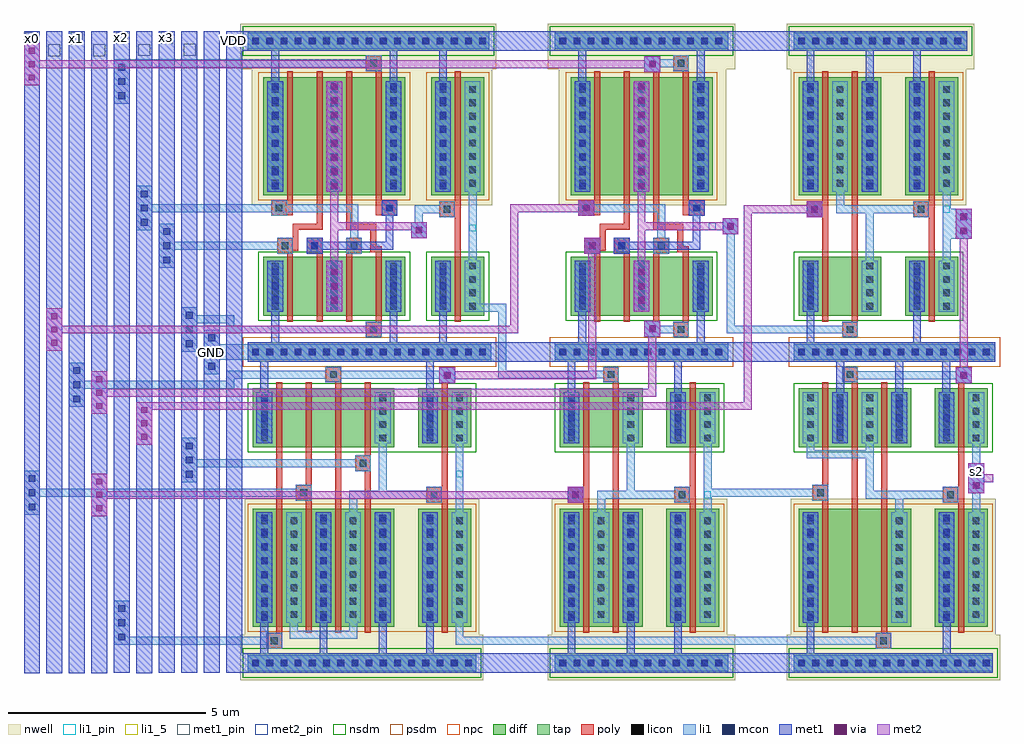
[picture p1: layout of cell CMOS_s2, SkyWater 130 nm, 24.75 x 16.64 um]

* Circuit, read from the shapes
.subckt CMOS_s2 GND VDD s2 x0 x0_bar x1 x1_bar x2 x2_bar x3 x3_bar
XM1 n1 x2 GND GND sky130_fd_pr__nfet_01v8 w=1.5 l=0.15
XM2 n2 x3 GND GND sky130_fd_pr__nfet_01v8 w=1.5 l=0.15
XM3 n3 x0 n1 GND sky130_fd_pr__nfet_01v8 w=1.5 l=0.15
XM4 n4 x2 n2 GND sky130_fd_pr__nfet_01v8 w=1.5 l=0.15
XM5 n5 x1 n3 GND sky130_fd_pr__nfet_01v8 w=1.5 l=0.15
XM6 n6 x2_bar n4 GND sky130_fd_pr__nfet_01v8 w=1.5 l=0.15
XM7 n7 x3_bar n5 GND sky130_fd_pr__nfet_01v8 w=1.5 l=0.15
XM8 GND x3_bar n6 GND sky130_fd_pr__nfet_01v8 w=1.5 l=0.15
XM9 CMOS_3in_OR_4/C n7 GND GND sky130_fd_pr__nfet_01v8 w=1.5 l=0.15
XM10 CMOS_AND_2/A n4 GND GND sky130_fd_pr__nfet_01v8 w=1.5 l=0.15
XM11 n8 x1_bar GND GND sky130_fd_pr__nfet_01v8 w=1.5 l=0.15
XM12 n9 x1 GND GND sky130_fd_pr__nfet_01v8 w=1.5 l=0.15
XM13 n10 CMOS_AND_2/A n8 GND sky130_fd_pr__nfet_01v8 w=1.5 l=0.15
XM14 CMOS_AND_3/A x0 n9 GND sky130_fd_pr__nfet_01v8 w=1.5 l=0.15
XM15 n11 x0_bar CMOS_AND_3/A GND sky130_fd_pr__nfet_01v8 w=1.5 l=0.15
XM16 GND x1_bar n11 GND sky130_fd_pr__nfet_01v8 w=1.5 l=0.15
XM17 CMOS_3in_OR_4/A n10 GND GND sky130_fd_pr__nfet_01v8 w=1.5 l=0.15
XM18 GND CMOS_3in_OR_4/A n12 GND sky130_fd_pr__nfet_01v8 w=1.5 l=0.15
XM19 n13 x2_bar GND GND sky130_fd_pr__nfet_01v8 w=1.5 l=0.15
XM20 n12 CMOS_AND_3/AND GND GND sky130_fd_pr__nfet_01v8 w=1.5 l=0.15
XM21 n14 CMOS_AND_3/A n13 GND sky130_fd_pr__nfet_01v8 w=1.5 l=0.15
XM22 GND CMOS_3in_OR_4/C n12 GND sky130_fd_pr__nfet_01v8 w=1.5 l=0.15
XM23 CMOS_AND_3/AND n14 GND GND sky130_fd_pr__nfet_01v8 w=1.5 l=0.15
XM24 s2 n12 GND GND sky130_fd_pr__nfet_01v8 w=1.5 l=0.15
XM25 n7 x2 VDD VDD sky130_fd_pr__pfet_01v8 w=3 l=0.15
XM26 n15 x2_bar VDD VDD sky130_fd_pr__pfet_01v8 w=3 l=0.15
XM27 VDD x0 n7 VDD sky130_fd_pr__pfet_01v8 w=3 l=0.15
XM28 n4 x3 n15 VDD sky130_fd_pr__pfet_01v8 w=3 l=0.15
XM29 n7 x1 VDD VDD sky130_fd_pr__pfet_01v8 w=3 l=0.15
XM30 n16 x3_bar n4 VDD sky130_fd_pr__pfet_01v8 w=3 l=0.15
XM31 VDD x3_bar n7 VDD sky130_fd_pr__pfet_01v8 w=3 l=0.15
XM32 VDD x2 n16 VDD sky130_fd_pr__pfet_01v8 w=3 l=0.15
XM33 CMOS_3in_OR_4/C n7 VDD VDD sky130_fd_pr__pfet_01v8 w=3 l=0.15
XM34 CMOS_AND_2/A n4 VDD VDD sky130_fd_pr__pfet_01v8 w=3 l=0.15
XM35 n10 x1_bar VDD VDD sky130_fd_pr__pfet_01v8 w=3 l=0.15
XM36 n17 x0_bar VDD VDD sky130_fd_pr__pfet_01v8 w=3 l=0.15
XM37 VDD CMOS_AND_2/A n10 VDD sky130_fd_pr__pfet_01v8 w=3 l=0.15
XM38 CMOS_AND_3/A x1 n17 VDD sky130_fd_pr__pfet_01v8 w=3 l=0.15
XM39 n18 x1_bar CMOS_AND_3/A VDD sky130_fd_pr__pfet_01v8 w=3 l=0.15
XM40 VDD x0 n18 VDD sky130_fd_pr__pfet_01v8 w=3 l=0.15
XM41 CMOS_3in_OR_4/A n10 VDD VDD sky130_fd_pr__pfet_01v8 w=3 l=0.15
XM42 n19 CMOS_3in_OR_4/A VDD VDD sky130_fd_pr__pfet_01v8 w=3 l=0.15
XM43 n14 x2_bar VDD VDD sky130_fd_pr__pfet_01v8 w=3 l=0.15
XM44 n20 CMOS_AND_3/AND n19 VDD sky130_fd_pr__pfet_01v8 w=3 l=0.15
XM45 VDD CMOS_AND_3/A n14 VDD sky130_fd_pr__pfet_01v8 w=3 l=0.15
XM46 n12 CMOS_3in_OR_4/C n20 VDD sky130_fd_pr__pfet_01v8 w=3 l=0.15
XM47 CMOS_AND_3/AND n14 VDD VDD sky130_fd_pr__pfet_01v8 w=3 l=0.15
XM48 s2 n12 VDD VDD sky130_fd_pr__pfet_01v8 w=3 l=0.15
.ends

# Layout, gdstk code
import gdstk
lib = gdstk.Library(unit=1e-6, precision=1e-09)
def R(c, l, rs):  # rectangles x0, y0, x1, y1
    for r in rs: c.add(gdstk.rectangle(r[:2], r[2:], *l))
def A(c, l, x, y, w, h, nx, ny, dx, dy):  # array of equal rectangles
    R(c, l, [(x+i*dx, y+j*dy, x+i*dx+w, y+j*dy+h) for i in range(nx) for j in range(ny)])
nwell = (64, 20)
diff = (65, 20)
tap = (65, 44)
poly = (66, 20)
licon = (66, 44)
li1_5 = (67, 5)
li1_pin = (67, 16)
li1 = (67, 20)
mcon = (67, 44)
met1_pin = (68, 16)
met1 = (68, 20)
via = (68, 44)
met2_pin = (69, 16)
met2 = (69, 20)
nsdm = (93, 44)
psdm = (94, 20)
npc = (95, 20)

cmos_xor = lib.new_cell('CMOS_XOR')
R(cmos_xor, nwell, [(-2.1,-0.25,2.15,3.2), (-2.38,3.2,2.38,4.35)])
R(cmos_xor, diff, [(-1.8,-3.05,1.8,-1.55), (-1.8,0,1.8,3)])
R(cmos_xor, tap, [(-2.2,-4.22,2.2,-3.72), (-2.2,3.67,2.2,4.17)])
A(cmos_xor, poly, -1.2, -3.2, 0.15, 1.725, 3, 1, 0.75, 0)
R(cmos_xor, poly, [(0.8,-3.6,1.2,-3.2), (1.05,-3.2,1.2,-1.44), (-1.45,-1.475,-1.05,-1.4), (-0.7,-1.475,-0.3,-1.075), (0.3,-1.475,0.7,-1.075), (0.91,-1.44,1.2,-1.29), (-1.45,-1.4,-0.91,-1.075), (0.91,-1.29,1.06,-0.865), (-1.06,-1.075,-0.91,-0.865), (-1.06,-0.865,-0.3,-0.715), (0.3,-0.865,1.06,-0.715), (-0.45,-0.715,-0.3,3.15), (0.3,-0.715,0.45,3.15), (-1.6,-0.52,-1.2,-0.505), (1.2,-0.52,1.6,-0.505), (-1.6,-0.505,-1.05,-0.12), (1.05,-0.505,1.6,-0.12), (-1.2,-0.12,-1.05,3.15), (1.05,-0.12,1.2,3.15), (0.8,3.15,1.2,3.55)])
A(cmos_xor, licon, -2.085, -4.055, 0.17, 0.17, 12, 2, 0.36, 7.89)
A(cmos_xor, licon, -1.585, -2.895, 0.17, 0.17, 3, 4, 1.5, 0.34)
A(cmos_xor, licon, -1.585, 0.225, 0.17, 0.17, 3, 8, 1.5, 0.34)
R(cmos_xor, licon, [(0.915,-3.485,1.085,-3.315), (-1.335,-1.36,-1.165,-1.19), (-0.585,-1.36,-0.415,-1.19), (0.415,-1.36,0.585,-1.19), (-1.485,-0.405,-1.315,-0.235), (1.315,-0.405,1.485,-0.235), (0.915,3.265,1.085,3.435)])
R(cmos_xor, li1_pin, [(0.915,-3.485,1.085,-3.315), (-1.335,-1.36,-1.165,-1.19), (-1.515,-0.445,-1.27,-0.21), (0.915,3.265,1.085,3.435)])
A(cmos_xor, li1, -1.7, -2.95, 0.4, 1.3, 3, 1, 1.5, 0)
A(cmos_xor, li1, -1.7, 0.1, 0.4, 2.8, 3, 1, 1.5, 0)
R(cmos_xor, li1, [(-2.2,-4.17,2.2,-3.77), (0.8,-3.6,1.2,-3.2), (-1.45,-1.475,-1.05,-1.075), (-0.7,-1.475,-0.3,-1.075), (0.3,-1.475,0.7,-1.075), (0.4,-1.075,0.6,-0.42), (-1.6,-0.52,-1.2,-0.42), (1.2,-0.52,1.6,-0.12), (-1.6,-0.42,0.6,-0.22), (-1.6,-0.22,-1.2,-0.12), (0.8,3.15,1.2,3.55), (-2.2,3.72,2.2,4.12)])
A(cmos_xor, mcon, -2.085, -4.055, 0.17, 0.17, 12, 2, 0.36, 7.89)
A(cmos_xor, mcon, -1.585, -2.745, 0.17, 0.17, 3, 3, 1.5, 0.36)
A(cmos_xor, mcon, -1.585, 0.155, 0.17, 0.17, 3, 8, 1.5, 0.36)
R(cmos_xor, mcon, [(-0.585,-1.36,-0.415,-1.19), (1.315,-0.405,1.485,-0.235)])
R(cmos_xor, met1_pin, [(-0.3,-4.07,-0.1,-3.87), (-0.3,3.82,-0.1,4.02)])
A(cmos_xor, met1, -1.7, -2.95, 0.4, 1.3, 3, 1, 1.5, 0)
A(cmos_xor, met1, -1.7, 0.1, 0.4, 2.8, 3, 1, 1.5, 0)
R(cmos_xor, met1, [(-2.2,-4.22,2.2,-3.72), (-1.6,-3.72,-1.4,-2.95), (1.4,-3.72,1.6,-2.95), (-0.7,-1.475,-0.3,-1.375), (-0.7,-1.375,1.495,-1.175), (-0.7,-1.175,-0.3,-1.075), (1.3,-1.175,1.495,-0.52), (1.2,-0.52,1.6,-0.12), (-1.6,2.9,-1.4,3.67), (1.4,2.9,1.6,3.67), (-2.2,3.67,2.2,4.17)])
A(cmos_xor, via, -0.075, -2.735, 0.15, 0.15, 1, 3, 0, 0.36)
A(cmos_xor, via, -0.075, 0.165, 0.15, 0.15, 1, 8, 0, 0.36)
R(cmos_xor, met2_pin, [(1.7,-0.87,1.88,-0.69)])
R(cmos_xor, met2, [(-0.2,-2.95,0.2,-1.65), (-0.1,-1.65,0.1,-0.88), (-0.1,-0.88,2.15,-0.68), (-0.1,-0.68,0.1,0.1), (-0.2,0.1,0.2,2.9)])
R(cmos_xor, nsdm, [(-1.925,-3.175,1.925,-1.425), (-2.325,3.545,2.325,4.295)])
R(cmos_xor, psdm, [(-2.325,-4.345,2.325,-3.595), (-1.925,-0.125,1.925,3.125)])
R(cmos_xor, npc, [(0.815,-3.585,1.185,-3.215), (-1.435,-1.46,-1.065,-1.09), (-0.685,-1.46,-0.315,-1.09), (0.315,-1.46,0.685,-1.09), (-1.585,-0.505,-1.215,-0.135), (1.215,-0.505,1.585,-0.135), (0.815,3.165,1.185,3.535)])
cmos_xor.add(gdstk.Label('GND!', (-0.2,-3.97), layer=68, texttype=16))
cmos_xor.add(gdstk.Label('VDD', (-0.2,3.92), layer=68, texttype=16))
cmos_xor.add(gdstk.Label('B', (1,3.35), layer=67, texttype=16))
cmos_xor.add(gdstk.Label('A_bar', (1,-3.4), layer=67, texttype=16))
cmos_xor.add(gdstk.Label('A', (-1.25,-1.275), layer=67, texttype=16))
cmos_xor.add(gdstk.Label('B_bar', (-1.392,-0.327), layer=67, texttype=16))
cmos_xor.add(gdstk.Label('XOR', (1.79,-0.78), layer=69, texttype=16))

cmos_xnor = lib.new_cell('CMOS_XNOR')
R(cmos_xnor, nwell, [(-2.965,-0.25,3.14,3.2), (-3.245,3.2,3.245,4.35)])
R(cmos_xnor, diff, [(-2.665,-3.05,0.935,-1.55), (1.59,-3.05,2.94,-1.55), (-2.665,0,0.935,3), (1.59,0,2.94,3)])
R(cmos_xnor, tap, [(-3.065,-4.22,3.12,-3.72), (-3.065,3.67,3.065,4.17)])
A(cmos_xnor, poly, -2.065, -3.2, 0.15, 1.725, 3, 1, 0.75, 0)
R(cmos_xnor, poly, [(-0.065,-3.6,0.335,-3.2), (0.185,-3.2,0.335,-1.44), (2.19,-3.2,2.34,-0.55), (-2.315,-1.475,-1.915,-1.4), (-1.565,-1.475,-1.165,-1.075), (-0.565,-1.475,-0.165,-1.075), (0.045,-1.44,0.335,-1.29), (-2.315,-1.4,-1.775,-1.075), (0.045,-1.29,0.195,-0.865), (-1.925,-1.075,-1.775,-0.865), (-1.925,-0.865,-1.165,-0.715), (-0.565,-0.865,0.195,-0.715), (-1.315,-0.715,-1.165,3.15), (-0.565,-0.715,-0.415,3.15), (1.79,-0.55,2.34,-0.15), (-2.465,-0.52,-2.065,-0.505), (0.335,-0.52,0.735,-0.505), (-2.465,-0.505,-1.915,-0.12), (0.185,-0.505,0.735,-0.12), (2.19,-0.15,2.34,3.15), (-2.065,-0.12,-1.915,3.15), (0.185,-0.12,0.335,3.15), (-0.065,3.15,0.335,3.55)])
A(cmos_xnor, licon, -2.95, -4.055, 0.17, 0.17, 17, 2, 0.36, 7.89)
A(cmos_xnor, licon, -2.45, -2.895, 0.17, 0.17, 3, 4, 1.5, 0.34)
A(cmos_xnor, licon, 1.805, -2.895, 0.17, 0.17, 1, 4, 0, 0.34)
A(cmos_xnor, licon, 2.555, -2.895, 0.17, 0.17, 1, 4, 0, 0.34)
A(cmos_xnor, licon, -2.45, 0.225, 0.17, 0.17, 3, 8, 1.5, 0.34)
A(cmos_xnor, licon, 1.805, 0.225, 0.17, 0.17, 1, 8, 0, 0.34)
A(cmos_xnor, licon, 2.555, 0.225, 0.17, 0.17, 1, 8, 0, 0.34)
R(cmos_xnor, licon, [(0.05,-3.485,0.22,-3.315), (-2.2,-1.36,-2.03,-1.19), (-1.45,-1.36,-1.28,-1.19), (-0.45,-1.36,-0.28,-1.19), (1.905,-0.435,2.075,-0.265), (-2.35,-0.405,-2.18,-0.235), (0.45,-0.405,0.62,-0.235), (0.05,3.265,0.22,3.435)])
R(cmos_xnor, li1_5, [(1.905,-0.435,2.075,-0.265)])
R(cmos_xnor, li1_pin, [(0.05,-3.485,0.22,-3.315), (-2.2,-1.36,-2.03,-1.19), (2.555,-0.91,2.725,-0.74), (-2.38,-0.445,-2.135,-0.21), (0.05,3.265,0.22,3.435)])
A(cmos_xnor, li1, -2.565, -2.95, 0.4, 1.3, 3, 1, 1.5, 0)
A(cmos_xnor, li1, -2.565, 0.1, 0.4, 2.8, 3, 1, 1.5, 0)
R(cmos_xnor, li1, [(-3.065,-4.17,3.12,-3.77), (-0.065,-3.6,0.335,-3.2), (1.69,-2.95,2.09,-1.65), (2.44,-2.95,2.84,-1.65), (2.54,-1.65,2.74,0.1), (-2.315,-1.475,-1.915,-1.075), (-1.565,-1.475,-1.165,-1.075), (-0.565,-1.475,-0.165,-1.075), (1.08,-1.08,1.48,-0.68), (-0.465,-1.075,-0.265,-0.42), (1.18,-0.68,1.38,-0.45), (1.79,-0.55,2.19,-0.45), (-2.465,-0.52,-2.065,-0.42), (0.335,-0.52,0.735,-0.12), (1.18,-0.45,2.19,-0.25), (-2.465,-0.42,-0.265,-0.22), (1.79,-0.25,2.19,-0.15), (-2.465,-0.22,-2.065,-0.12), (1.69,0.1,2.09,2.9), (2.44,0.1,2.84,2.9), (-0.065,3.15,0.335,3.55), (-3.065,3.72,3.065,4.12)])
A(cmos_xnor, mcon, -2.95, -4.055, 0.17, 0.17, 17, 2, 0.36, 7.89)
A(cmos_xnor, mcon, -2.45, -2.745, 0.17, 0.17, 3, 3, 1.5, 0.36)
A(cmos_xnor, mcon, 1.805, -2.745, 0.17, 0.17, 1, 3, 0, 0.36)
A(cmos_xnor, mcon, -2.45, 0.155, 0.17, 0.17, 3, 8, 1.5, 0.36)
A(cmos_xnor, mcon, 1.805, 0.155, 0.17, 0.17, 1, 8, 0, 0.36)
R(cmos_xnor, mcon, [(-1.45,-1.36,-1.28,-1.19), (1.195,-0.965,1.365,-0.795), (0.45,-0.405,0.62,-0.235)])
R(cmos_xnor, met1_pin, [(-1.165,-4.07,-0.965,-3.87), (-1.165,3.82,-0.965,4.02)])
A(cmos_xnor, met1, -2.565, -2.95, 0.4, 1.3, 3, 1, 1.5, 0)
A(cmos_xnor, met1, -2.565, 0.1, 0.4, 2.8, 3, 1, 1.5, 0)
R(cmos_xnor, met1, [(-3.065,-4.22,3.12,-3.72), (-2.465,-3.72,-2.265,-2.95), (0.535,-3.72,0.735,-2.95), (1.79,-3.72,1.99,-2.95), (1.69,-2.95,2.09,-1.65), (-1.565,-1.475,-1.165,-1.375), (-1.565,-1.375,0.63,-1.175), (-1.565,-1.175,-1.165,-1.075), (0.435,-1.175,0.63,-0.52), (1.08,-1.08,1.48,-0.68), (0.335,-0.52,0.735,-0.12), (1.69,0.1,2.09,2.9), (-2.465,2.9,-2.265,3.67), (0.535,2.9,0.735,3.67), (1.79,2.9,1.99,3.67), (-3.065,3.67,3.065,4.17)])
A(cmos_xnor, via, -0.94, -2.735, 0.15, 0.15, 1, 3, 0, 0.36)
A(cmos_xnor, via, -0.94, 0.165, 0.15, 0.15, 1, 8, 0, 0.36)
R(cmos_xnor, via, [(1.205,-0.955,1.355,-0.805)])
R(cmos_xnor, met2, [(-1.065,-2.95,-0.665,-1.65), (-0.965,-1.65,-0.765,-0.88), (1.08,-1.08,1.48,-0.88), (-0.965,-0.88,1.48,-0.68), (-0.965,-0.68,-0.765,0.1), (-1.065,0.1,-0.665,2.9)])
R(cmos_xnor, nsdm, [(-2.79,-3.175,1.06,-1.425), (1.465,-3.175,3.065,-1.425), (-3.19,3.545,3.19,4.295)])
R(cmos_xnor, psdm, [(-3.19,-4.345,3.245,-3.595), (-2.79,-0.125,1.06,3.125), (1.465,-0.125,3.065,3.125)])
R(cmos_xnor, npc, [(-0.05,-3.585,0.32,-3.215), (-2.3,-1.46,-1.93,-1.09), (-1.55,-1.46,-1.18,-1.09), (-0.55,-1.46,-0.18,-1.09), (1.805,-0.535,2.175,-0.165), (-2.45,-0.505,-2.08,-0.135), (0.35,-0.505,0.72,-0.135), (-0.05,3.165,0.32,3.535)])
cmos_xnor.add(gdstk.Label('GND!', (-1.065,-3.97), layer=68, texttype=16))
cmos_xnor.add(gdstk.Label('VDD', (-1.065,3.92), layer=68, texttype=16))
cmos_xnor.add(gdstk.Label('XNOR', (2.64,-0.825), layer=67, texttype=16))
cmos_xnor.add(gdstk.Label('B', (0.135,3.35), layer=67, texttype=16))
cmos_xnor.add(gdstk.Label('A_bar', (0.135,-3.4), layer=67, texttype=16))
cmos_xnor.add(gdstk.Label('A', (-2.115,-1.275), layer=67, texttype=16))
cmos_xnor.add(gdstk.Label('B_bar', (-2.257,-0.327), layer=67, texttype=16))

cmos_and = lib.new_cell('CMOS_AND')
R(cmos_and, nwell, [(-2.275,-0.25,2.175,3.2), (-2.38,3.2,2.38,4.35)])
R(cmos_and, diff, [(-2.075,-3.05,0.025,-1.55), (0.625,-3.05,1.975,-1.55), (-2.075,0,0.025,3), (0.625,0,1.975,3)])
R(cmos_and, tap, [(-2.2,-4.22,2.2,-3.72), (-2.2,3.67,2.2,4.17)])
R(cmos_and, poly, [(-0.975,-3.6,-0.575,-3.2), (-1.475,-3.2,-1.325,-0.55), (-0.725,-3.2,-0.575,3.15), (1.225,-3.2,1.375,-0.55), (-1.875,-0.55,-1.325,-0.15), (0.825,-0.55,1.375,-0.15), (-1.475,-0.15,-1.325,3.15), (1.225,-0.15,1.375,3.15)])
A(cmos_and, licon, -2.085, -4.055, 0.17, 0.17, 12, 2, 0.36, 7.89)
A(cmos_and, licon, -1.86, -2.895, 0.17, 0.17, 1, 4, 0, 0.34)
A(cmos_and, licon, -0.36, -2.895, 0.17, 0.17, 1, 4, 0, 0.34)
A(cmos_and, licon, 0.84, -2.895, 0.17, 0.17, 1, 4, 0, 0.34)
A(cmos_and, licon, 1.59, -2.895, 0.17, 0.17, 1, 4, 0, 0.34)
A(cmos_and, licon, -1.86, 0.225, 0.17, 0.17, 3, 8, 0.75, 0.34)
A(cmos_and, licon, 0.84, 0.225, 0.17, 0.17, 1, 8, 0, 0.34)
A(cmos_and, licon, 1.59, 0.225, 0.17, 0.17, 1, 8, 0, 0.34)
R(cmos_and, licon, [(-0.86,-3.485,-0.69,-3.315), (-1.76,-0.435,-1.59,-0.265), (0.94,-0.435,1.11,-0.265)])
R(cmos_and, li1_pin, [(-0.86,-3.485,-0.69,-3.315), (-1.76,-0.435,-1.59,-0.265), (1.59,-0.435,1.76,-0.265)])
A(cmos_and, li1, -1.975, 0.1, 0.4, 2.8, 3, 1, 0.75, 0)
R(cmos_and, li1, [(-2.2,-4.17,2.2,-3.77), (-0.975,-3.6,-0.575,-3.2), (-1.975,-2.95,-1.575,-1.65), (-0.475,-2.95,-0.075,-1.65), (0.725,-2.95,1.125,-1.65), (1.475,-2.95,1.875,-1.65), (-0.375,-1.65,-0.175,-0.45), (1.575,-1.65,1.775,0.1), (-1.875,-0.55,-1.475,-0.15), (0.825,-0.55,1.225,-0.45), (-1.125,-0.45,1.225,-0.25), (-1.125,-0.25,-0.925,0.1), (0.825,-0.25,1.225,-0.15), (0.725,0.1,1.125,2.9), (1.475,0.1,1.875,2.9), (-2.2,3.72,2.2,4.12)])
A(cmos_and, mcon, -2.085, -4.055, 0.17, 0.17, 12, 2, 0.36, 7.89)
A(cmos_and, mcon, -1.86, -2.745, 0.17, 0.17, 1, 3, 0, 0.36)
A(cmos_and, mcon, 0.84, -2.745, 0.17, 0.17, 1, 3, 0, 0.36)
A(cmos_and, mcon, -1.86, 0.155, 0.17, 0.17, 1, 8, 0, 0.36)
A(cmos_and, mcon, -0.36, 0.155, 0.17, 0.17, 1, 8, 0, 0.36)
A(cmos_and, mcon, 0.84, 0.155, 0.17, 0.17, 1, 8, 0, 0.36)
R(cmos_and, met1_pin, [(-0.3,-4.07,-0.1,-3.87), (-0.3,3.82,-0.1,4.02)])
R(cmos_and, met1, [(-2.2,-4.22,2.2,-3.72), (-1.875,-3.72,-1.675,-2.95), (0.825,-3.72,1.025,-2.95), (-1.975,-2.95,-1.575,-1.65), (0.725,-2.95,1.125,-1.65), (-1.975,0.1,-1.575,2.9), (-0.475,0.1,-0.075,2.9), (0.725,0.1,1.125,2.9), (-1.875,2.9,-1.675,3.67), (-0.37,2.9,-0.17,3.67), (0.825,2.9,1.025,3.67), (-2.2,3.67,2.2,4.17)])
R(cmos_and, nsdm, [(-2.2,-3.175,2.1,-1.425), (-2.325,3.545,2.325,4.295)])
R(cmos_and, psdm, [(-2.325,-4.345,2.325,-3.595), (-2.2,-0.125,2.1,3.125)])
R(cmos_and, npc, [(-0.96,-3.585,-0.59,-3.215), (-1.86,-0.535,-1.49,-0.165), (0.84,-0.535,1.21,-0.165)])
cmos_and.add(gdstk.Label('GND!', (-0.2,-3.97), layer=68, texttype=16))
cmos_and.add(gdstk.Label('VDD', (-0.2,3.92), layer=68, texttype=16))
cmos_and.add(gdstk.Label('AND', (1.675,-0.35), layer=67, texttype=16))
cmos_and.add(gdstk.Label('A', (-0.775,-3.4), layer=67, texttype=16))
cmos_and.add(gdstk.Label('B', (-1.675,-0.35), layer=67, texttype=16))

cmos_3in_or = lib.new_cell('CMOS_3in_OR')
R(cmos_3in_or, nwell, [(-2.6,-0.25,2.6,3.2), (-2.705,3.2,2.705,4.35)])
R(cmos_3in_or, diff, [(-2.4,-3.05,0.45,-1.55), (1.05,-3.05,2.4,-1.55), (-2.4,0,0.45,3), (1.05,0,2.4,3)])
R(cmos_3in_or, tap, [(-2.525,-4.22,2.58,-3.72), (-2.525,3.67,2.525,4.17)])
R(cmos_3in_or, poly, [(-1.3,-3.6,-0.9,-3.2), (-1.8,-3.2,-1.65,-0.6), (-1.05,-3.2,-0.9,3.15), (-0.3,-3.2,-0.15,3.15), (1.65,-3.2,1.8,-0.55), (-2.05,-0.6,-1.65,-0.2), (1.25,-0.55,1.8,-0.15), (-1.8,-0.2,-1.65,3.15), (1.65,-0.15,1.8,3.15), (-0.45,3.15,-0.05,3.55)])
A(cmos_3in_or, licon, -2.41, -4.055, 0.17, 0.17, 14, 2, 0.36, 7.89)
A(cmos_3in_or, licon, -2.185, -2.895, 0.17, 0.17, 4, 4, 0.75, 0.34)
A(cmos_3in_or, licon, 1.265, -2.895, 0.17, 0.17, 1, 4, 0, 0.34)
A(cmos_3in_or, licon, 2.015, -2.895, 0.17, 0.17, 1, 4, 0, 0.34)
A(cmos_3in_or, licon, -2.185, 0.225, 0.17, 0.17, 1, 8, 0, 0.34)
A(cmos_3in_or, licon, 0.065, 0.225, 0.17, 0.17, 1, 8, 0, 0.34)
A(cmos_3in_or, licon, 1.265, 0.225, 0.17, 0.17, 1, 8, 0, 0.34)
A(cmos_3in_or, licon, 2.015, 0.225, 0.17, 0.17, 1, 8, 0, 0.34)
R(cmos_3in_or, licon, [(-1.185,-3.485,-1.015,-3.315), (-1.935,-0.485,-1.765,-0.315), (1.365,-0.435,1.535,-0.265), (-0.335,3.265,-0.165,3.435)])
R(cmos_3in_or, li1_pin, [(-1.185,-3.485,-1.015,-3.315), (2.015,-1,2.185,-0.83), (-1.935,-0.485,-1.765,-0.315), (-0.335,3.265,-0.165,3.435)])
A(cmos_3in_or, li1, -2.3, -2.95, 0.4, 1.3, 4, 1, 0.75, 0)
R(cmos_3in_or, li1, [(-2.525,-4.17,2.58,-3.77), (-1.3,-3.6,-0.9,-3.2), (1.15,-2.95,1.55,-1.65), (1.9,-2.95,2.3,-1.65), (-2.2,-1.65,-2,-1.48), (-0.7,-1.65,-0.5,-1.48), (2,-1.65,2.2,0.1), (-2.2,-1.48,-0.5,-1.28), (-0.7,-1.28,-0.5,-0.45), (-2.05,-0.6,-1.65,-0.2), (1.25,-0.55,1.65,-0.45), (-0.7,-0.45,1.65,-0.25), (0.05,-0.25,0.25,0.1), (1.25,-0.25,1.65,-0.15), (-2.3,0.1,-1.9,2.9), (-0.05,0.1,0.35,2.9), (1.15,0.1,1.55,2.9), (1.9,0.1,2.3,2.9), (-0.45,3.15,-0.05,3.55), (-2.525,3.72,2.525,4.12)])
A(cmos_3in_or, mcon, -2.41, -4.055, 0.17, 0.17, 14, 2, 0.36, 7.89)
A(cmos_3in_or, mcon, -1.435, -2.745, 0.17, 0.17, 1, 3, 0, 0.36)
A(cmos_3in_or, mcon, 0.065, -2.745, 0.17, 0.17, 1, 3, 0, 0.36)
A(cmos_3in_or, mcon, 1.265, -2.745, 0.17, 0.17, 1, 3, 0, 0.36)
A(cmos_3in_or, mcon, -2.185, 0.155, 0.17, 0.17, 1, 8, 0, 0.36)
A(cmos_3in_or, mcon, 1.265, 0.155, 0.17, 0.17, 1, 8, 0, 0.36)
R(cmos_3in_or, met1_pin, [(-0.625,-4.07,-0.425,-3.87), (-0.625,3.82,-0.425,4.02)])
R(cmos_3in_or, met1, [(-2.525,-4.22,2.58,-3.72), (-1.45,-3.72,-1.25,-2.95), (0.05,-3.72,0.25,-2.95), (1.245,-3.72,1.445,-2.95), (-1.55,-2.95,-1.15,-1.65), (-0.05,-2.95,0.35,-1.65), (1.15,-2.95,1.55,-1.65), (-2.3,0.1,-1.9,2.9), (1.15,0.1,1.55,2.9), (-2.2,2.9,-2,3.67), (1.255,2.9,1.455,3.67), (-2.525,3.67,2.525,4.17)])
R(cmos_3in_or, nsdm, [(-2.525,-3.175,2.525,-1.425), (-2.65,3.545,2.65,4.295)])
R(cmos_3in_or, psdm, [(-2.65,-4.345,2.705,-3.595), (-2.525,-0.125,2.525,3.125)])
R(cmos_3in_or, npc, [(-1.285,-3.585,-0.915,-3.215), (-2.035,-0.585,-1.665,-0.215), (1.265,-0.535,1.635,-0.165), (-0.435,3.165,-0.065,3.535)])
cmos_3in_or.add(gdstk.Label('GND!', (-0.525,-3.97), layer=68, texttype=16))
cmos_3in_or.add(gdstk.Label('VDD', (-0.525,3.92), layer=68, texttype=16))
cmos_3in_or.add(gdstk.Label('A', (-1.85,-0.4), layer=67, texttype=16))
cmos_3in_or.add(gdstk.Label('B', (-1.1,-3.4), layer=67, texttype=16))
cmos_3in_or.add(gdstk.Label('C', (-0.25,3.35), layer=67, texttype=16))
cmos_3in_or.add(gdstk.Label('OR', (2.1,-0.915), layer=67, texttype=16))

cmos_4in_and = lib.new_cell('CMOS_4in_AND')
R(cmos_4in_and, nwell, [(-2.975,-0.25,2.975,3.2), (-3.08,3.2,3.08,4.35)])
R(cmos_4in_and, diff, [(-2.775,-3.05,0.825,-1.55), (1.425,-3.05,2.775,-1.55), (-2.775,0,0.825,3), (1.425,0,2.775,3)])
R(cmos_4in_and, tap, [(-2.9,-4.22,2.9,-3.72), (-2.9,3.67,2.9,4.17)])
R(cmos_4in_and, poly, [(-0.925,-3.6,-0.525,-3.2), (-2.175,-3.2,-2.025,3.15), (-1.425,-3.2,-1.275,-0.6), (-0.675,-3.2,-0.525,3.15), (0.075,-3.2,0.225,-1.35), (2.025,-3.2,2.175,-0.55), (-0.175,-1.35,0.225,-0.95), (0.075,-0.95,0.225,3.15), (-1.675,-0.6,-1.275,-0.2), (1.625,-0.55,2.175,-0.15), (-1.425,-0.2,-1.275,3.15), (2.025,-0.15,2.175,3.15), (-2.425,3.15,-2.025,3.55)])
A(cmos_4in_and, licon, -2.785, -4.055, 0.17, 0.17, 16, 2, 0.36, 7.89)
A(cmos_4in_and, licon, -2.56, -2.895, 0.17, 0.17, 1, 4, 0, 0.34)
A(cmos_4in_and, licon, 0.44, -2.895, 0.17, 0.17, 1, 4, 0, 0.34)
A(cmos_4in_and, licon, 1.64, -2.895, 0.17, 0.17, 1, 4, 0, 0.34)
A(cmos_4in_and, licon, 2.39, -2.895, 0.17, 0.17, 1, 4, 0, 0.34)
A(cmos_4in_and, licon, -2.56, 0.225, 0.17, 0.17, 5, 8, 0.75, 0.34)
A(cmos_4in_and, licon, 1.64, 0.225, 0.17, 0.17, 1, 8, 0, 0.34)
A(cmos_4in_and, licon, 2.39, 0.225, 0.17, 0.17, 1, 8, 0, 0.34)
R(cmos_4in_and, licon, [(-0.81,-3.485,-0.64,-3.315), (-0.06,-1.235,0.11,-1.065), (-1.56,-0.485,-1.39,-0.315), (1.74,-0.435,1.91,-0.265), (-2.31,3.265,-2.14,3.435)])
R(cmos_4in_and, li1_pin, [(-0.81,-3.485,-0.64,-3.315), (-0.06,-1.235,0.11,-1.065), (2.39,-0.965,2.56,-0.795), (-1.56,-0.485,-1.39,-0.315), (-2.31,3.265,-2.14,3.435)])
A(cmos_4in_and, li1, -2.675, 0.1, 0.4, 2.8, 5, 1, 0.75, 0)
R(cmos_4in_and, li1, [(-2.9,-4.17,2.9,-3.77), (-0.925,-3.6,-0.525,-3.2), (-2.675,-2.95,-2.275,-1.65), (0.325,-2.95,0.725,-1.65), (1.525,-2.95,1.925,-1.65), (2.275,-2.95,2.675,-1.65), (0.425,-1.65,0.625,-0.45), (2.375,-1.65,2.575,0.1), (-0.175,-1.35,0.225,-0.95), (-1.675,-0.6,-1.275,-0.2), (1.625,-0.55,2.025,-0.45), (-0.325,-0.45,2.025,-0.25), (-0.325,-0.25,-0.125,0.1), (1.625,-0.25,2.025,-0.15), (1.525,0.1,1.925,2.9), (2.275,0.1,2.675,2.9), (-1.825,2.9,-1.625,3.1), (-0.325,2.9,-0.125,3.1), (-1.825,3.1,-0.125,3.3), (-2.425,3.15,-2.025,3.55), (-2.9,3.72,2.9,4.12)])
A(cmos_4in_and, mcon, -2.785, -4.055, 0.17, 0.17, 16, 2, 0.36, 7.89)
A(cmos_4in_and, mcon, -2.56, -2.745, 0.17, 0.17, 1, 3, 0, 0.36)
A(cmos_4in_and, mcon, 1.64, -2.745, 0.17, 0.17, 1, 3, 0, 0.36)
A(cmos_4in_and, mcon, -2.56, 0.155, 0.17, 0.17, 3, 8, 1.5, 0.36)
A(cmos_4in_and, mcon, 1.64, 0.155, 0.17, 0.17, 1, 8, 0, 0.36)
R(cmos_4in_and, met1_pin, [(-1,-4.07,-0.8,-3.87), (-1,3.82,-0.8,4.02)])
A(cmos_4in_and, met1, -2.675, 0.1, 0.4, 2.8, 3, 1, 1.5, 0)
A(cmos_4in_and, met1, -2.575, 2.9, 0.2, 0.77, 3, 1, 1.5, 0)
R(cmos_4in_and, met1, [(-2.9,-4.22,2.9,-3.72), (-2.575,-3.72,-2.375,-2.95), (1.625,-3.72,1.825,-2.95), (-2.675,-2.95,-2.275,-1.65), (1.525,-2.95,1.925,-1.65), (1.525,0.1,1.925,2.9), (1.625,2.9,1.825,3.67), (-2.9,3.67,2.9,4.17)])
R(cmos_4in_and, nsdm, [(-2.9,-3.175,2.9,-1.425), (-3.025,3.545,3.025,4.295)])
R(cmos_4in_and, psdm, [(-3.025,-4.345,3.025,-3.595), (-2.9,-0.125,2.9,3.125)])
R(cmos_4in_and, npc, [(-0.91,-3.585,-0.54,-3.215), (-0.16,-1.335,0.21,-0.965), (-1.66,-0.585,-1.29,-0.215), (1.64,-0.535,2.01,-0.165), (-2.41,3.165,-2.04,3.535)])
cmos_4in_and.add(gdstk.Label('GND!', (-0.9,-3.97), layer=68, texttype=16))
cmos_4in_and.add(gdstk.Label('VDD', (-0.9,3.92), layer=68, texttype=16))
cmos_4in_and.add(gdstk.Label('OUT', (2.475,-0.88), layer=67, texttype=16))
cmos_4in_and.add(gdstk.Label('A', (0.025,-1.15), layer=67, texttype=16))
cmos_4in_and.add(gdstk.Label('B', (-0.725,-3.4), layer=67, texttype=16))
cmos_4in_and.add(gdstk.Label('C', (-1.475,-0.4), layer=67, texttype=16))
cmos_4in_and.add(gdstk.Label('D', (-2.225,3.35), layer=67, texttype=16))

cmos_s2 = lib.new_cell('CMOS_s2')
R(cmos_s2, li1, [(-10.095,-7.425,-9.695,-7.42), (-10.095,-7.42,-6.23,-7.22), (-1.43,-7.42,9.22,-7.22), (-10.095,-7.22,-9.695,-6.305), (-1.43,-7.22,-1.23,-6.87), (-12.375,-4.13,-11.975,-3.67), (1.525,-3.705,1.695,-3.535), (-12.375,-3.67,-5.48,-3.47), (5.06,-3.67,7.62,-3.47), (11.575,-3.585,11.975,-2.825), (-12.375,-3.47,-11.975,-3.01), (-8.385,-3.3,-7.985,-2.92), (-8.385,-2.92,-3.98,-2.72), (-8.385,-2.72,-7.985,-2.18), (-11.235,-1.39,-10.835,-0.93), (-11.235,-0.93,-7.045,-0.73), (-1.84,-0.79,-1.44,-0.68), (11.255,-0.79,11.655,-0.69), (-11.235,-0.73,-10.835,-0.27), (-7.245,-0.73,-7.045,-0.68), (8.77,-0.69,11.655,-0.49), (-7.245,-0.68,-4.73,-0.48), (-4.33,-0.68,-1.44,-0.48), (-0.35,-0.67,2.31,-0.47), (-7.815,-0.56,-7.415,-0.2), (11.255,-0.49,11.655,-0.39), (-1.84,-0.48,-1.44,-0.39), (-0.35,-0.47,-0.15,1.02), (-7.815,-0.2,-6.705,0.2), (-8.385,0.01,-7.985,0.73), (-7.815,0.2,-7.415,0.56), (3.36,0.39,3.76,0.47), (-7.245,0.47,-3.705,0.67), (3.36,0.47,4.085,0.67), (5.445,0.47,8.37,0.67), (-7.245,0.67,-7.045,0.73), (3.36,0.67,3.76,0.79), (5.445,0.67,5.645,2.99), (-8.385,0.73,-7.045,0.93), (-8.385,0.93,-7.985,1.13), (-0.8,1.02,-0.15,1.22), (-8.955,2.135,-8.555,2.595), (-8.955,2.595,-5.955,2.795), (1.95,2.61,2.12,2.78), (-8.955,2.795,-8.555,3.255), (11.12,2.87,11.655,3.63), (5.34,2.99,5.74,3.39), (-9.525,3.09,-9.125,3.55), (7.585,3.535,7.755,3.705), (-9.525,3.55,-6.105,3.75), (1.8,3.565,1.97,3.735), (-9.525,3.75,-9.125,4.21), (-10.095,6.3,-9.695,7.22), (3.36,7.1,3.76,7.22), (-10.095,7.22,-3.705,7.42), (3.36,7.22,4.085,7.42), (3.36,7.42,3.76,7.5)])
A(cmos_s2, mcon, -9.98, -7.31, 0.17, 0.17, 1, 3, 0, 0.36)
A(cmos_s2, mcon, -12.26, -4.015, 0.17, 0.17, 1, 3, 0, 0.36)
A(cmos_s2, mcon, -8.27, -3.185, 0.17, 0.17, 1, 3, 0, 0.36)
A(cmos_s2, mcon, -11.12, -1.275, 0.17, 0.17, 1, 3, 0, 0.36)
A(cmos_s2, mcon, -7.7, -0.445, 0.17, 0.17, 1, 3, 0, 0.36)
A(cmos_s2, mcon, -8.27, 0.125, 0.17, 0.17, 1, 3, 0, 0.36)
A(cmos_s2, mcon, -8.84, 2.25, 0.17, 0.17, 1, 3, 0, 0.36)
A(cmos_s2, mcon, -9.41, 3.205, 0.17, 0.17, 1, 3, 0, 0.36)
A(cmos_s2, mcon, -9.98, 6.415, 0.17, 0.17, 1, 3, 0, 0.36)
R(cmos_s2, mcon, [(1.525,-3.705,1.695,-3.535), (11.69,-3.47,11.86,-3.3), (11.69,-3.11,11.86,-2.94), (-1.725,-0.675,-1.555,-0.505), (11.37,-0.675,11.54,-0.505), (3.475,0.505,3.645,0.675), (1.95,2.61,2.12,2.78), (11.37,2.985,11.54,3.155), (5.455,3.105,5.625,3.275), (11.37,3.345,11.54,3.515), (7.585,3.535,7.755,3.705), (1.8,3.565,1.97,3.735), (3.475,7.215,3.645,7.385)])
R(cmos_s2, met1_pin, [(-7.7,-0.085,-7.53,0.085), (-11.76,7.505,-11.455,7.805), (-10.615,7.505,-10.31,7.805), (-9.48,7.51,-9.175,7.81), (-8.33,7.515,-8.025,7.815), (-12.325,7.81,-12.02,8.11), (-11.185,7.81,-10.88,8.11), (-7.155,7.81,-6.985,7.98), (-10.045,7.815,-9.74,8.115), (-8.905,7.815,-8.6,8.115)])
A(cmos_s2, met1, -12.375, -8.145, 0.4, 16.285, 4, 1, 0.57, 0)
A(cmos_s2, met1, -8.955, -8.14, 0.4, 16.28, 3, 1, 0.57, 0)
A(cmos_s2, met1, 5.485, -8.14, 1.66, 0.5, 1, 3, 0, 7.89)
R(cmos_s2, met1, [(-9.525,-8.145,-9.125,8.14), (-10.095,-8.14,-9.695,8.14), (-7.245,-8.14,-6.705,-7.64), (-1.655,-8.14,1.085,-7.64), (-7.245,-7.64,-6.845,7.64), (1.41,-3.82,1.81,-3.42), (11.575,-3.585,11.975,-2.825), (-1.84,-0.79,-1.44,-0.39), (11.255,-0.79,11.655,-0.39), (-0.52,-0.25,1.085,0.25), (3.36,0.39,3.76,0.79), (1.835,2.495,2.235,2.895), (11.255,2.87,11.655,3.63), (5.34,2.99,5.74,3.39), (7.47,3.42,7.87,3.82), (1.685,3.45,2.085,3.85), (3.36,7.1,3.76,7.5), (-7.245,7.64,-6.705,8.14), (-0.575,7.64,1.085,8.14)])
A(cmos_s2, via, -10.54, -4.04, 0.15, 0.15, 1, 3, 0, 0.34)
A(cmos_s2, via, -9.4, -2.225, 0.15, 0.15, 1, 3, 0, 0.34)
A(cmos_s2, via, -10.54, -1.445, 0.15, 0.15, 1, 3, 0, 0.34)
A(cmos_s2, via, -11.68, 0.155, 0.15, 0.15, 1, 3, 0, 0.34)
A(cmos_s2, via, -12.25, 6.885, 0.15, 0.15, 1, 3, 0, 0.34)
R(cmos_s2, via, [(1.535,-3.695,1.685,-3.545), (11.7,-3.46,11.85,-3.31), (11.7,-3.1,11.85,-2.95), (-1.715,-0.665,-1.565,-0.515), (11.38,-0.665,11.53,-0.515), (3.485,0.515,3.635,0.665), (1.96,2.62,2.11,2.77), (11.38,2.995,11.53,3.145), (5.465,3.115,5.615,3.265), (11.38,3.355,11.53,3.505), (7.595,3.545,7.745,3.695), (1.81,3.575,1.96,3.725), (3.485,7.225,3.635,7.375)])
R(cmos_s2, met2_pin, [(11.69,-3.11,11.86,-2.94)])
R(cmos_s2, met2, [(-10.665,-4.165,-10.265,-3.725), (1.41,-3.82,1.81,-3.725), (-10.665,-3.725,1.81,-3.525), (11.575,-3.585,11.975,-3.305), (-10.665,-3.525,-10.265,-3.085), (1.41,-3.525,1.81,-3.42), (11.575,-3.305,12.2,-3.105), (11.575,-3.105,11.975,-2.825), (-9.525,-2.35,-9.125,-1.47), (-10.665,-1.57,-10.265,-1.13), (-9.525,-1.47,6.08,-1.27), (5.88,-1.27,6.08,3.52), (-10.665,-1.13,3.66,-0.93), (-10.665,-0.93,-10.265,-0.49), (3.46,-0.93,3.66,0.39), (-1.84,-0.79,-1.44,-0.69), (11.255,-0.79,11.655,-0.39), (-1.84,-0.69,2.135,-0.49), (-1.84,-0.49,-1.44,-0.39), (1.935,-0.49,2.135,2.495), (11.355,-0.39,11.555,2.87), (-11.805,0.03,-11.405,0.47), (3.36,0.39,3.76,0.79), (-11.805,0.47,0.16,0.67), (-11.805,0.67,-11.405,1.11), (-0.04,0.67,0.16,3.55), (1.835,2.495,2.235,2.895), (11.255,2.87,11.655,3.63), (5.34,2.99,5.74,3.39), (7.47,3.42,7.87,3.52), (1.685,3.45,2.085,3.55), (5.88,3.52,7.87,3.72), (-0.04,3.55,2.085,3.75), (7.47,3.72,7.87,3.82), (1.685,3.75,2.085,3.85), (-12.375,6.76,-11.975,7.2), (3.36,7.1,3.76,7.2), (-12.375,7.2,3.76,7.4), (-12.375,7.4,-11.975,7.84), (3.36,7.4,3.76,7.5)])
cmos_s2.add(gdstk.Reference(cmos_xor, (3.285,3.97)))
cmos_s2.add(gdstk.Reference(cmos_xnor, (-3.64,3.97)))
cmos_s2.add(gdstk.Reference(cmos_and, (3.285,-3.97), x_reflection=True))
cmos_s2.add(gdstk.Reference(cmos_and, (9.345,3.97)))
cmos_s2.add(gdstk.Reference(cmos_3in_or, (9.67,-3.97), x_reflection=True))
cmos_s2.add(gdstk.Reference(cmos_4in_and, (-3.805,-3.97), x_reflection=True))
cmos_s2.add(gdstk.Label('GND', (-7.615,0), layer=68, texttype=16))
cmos_s2.add(gdstk.Label('x0', (-12.172,7.96), layer=68, texttype=16))
cmos_s2.add(gdstk.Label('x0_bar', (-11.607,7.655), layer=68, texttype=16))
cmos_s2.add(gdstk.Label('x1', (-11.032,7.96), layer=68, texttype=16))
cmos_s2.add(gdstk.Label('x1_bar', (-10.462,7.655), layer=68, texttype=16))
cmos_s2.add(gdstk.Label('x2', (-9.892,7.965), layer=68, texttype=16))
cmos_s2.add(gdstk.Label('x2_bar', (-9.327,7.66), layer=68, texttype=16))
cmos_s2.add(gdstk.Label('x3', (-8.752,7.965), layer=68, texttype=16))
cmos_s2.add(gdstk.Label('VDD', (-7.07,7.895), layer=68, texttype=16))
cmos_s2.add(gdstk.Label('x3_bar', (-8.177,7.665), layer=68, texttype=16))
cmos_s2.add(gdstk.Label('s2', (11.775,-3.025), layer=69, texttype=16))

lib.write_gds('CMOS_s2.gds')
